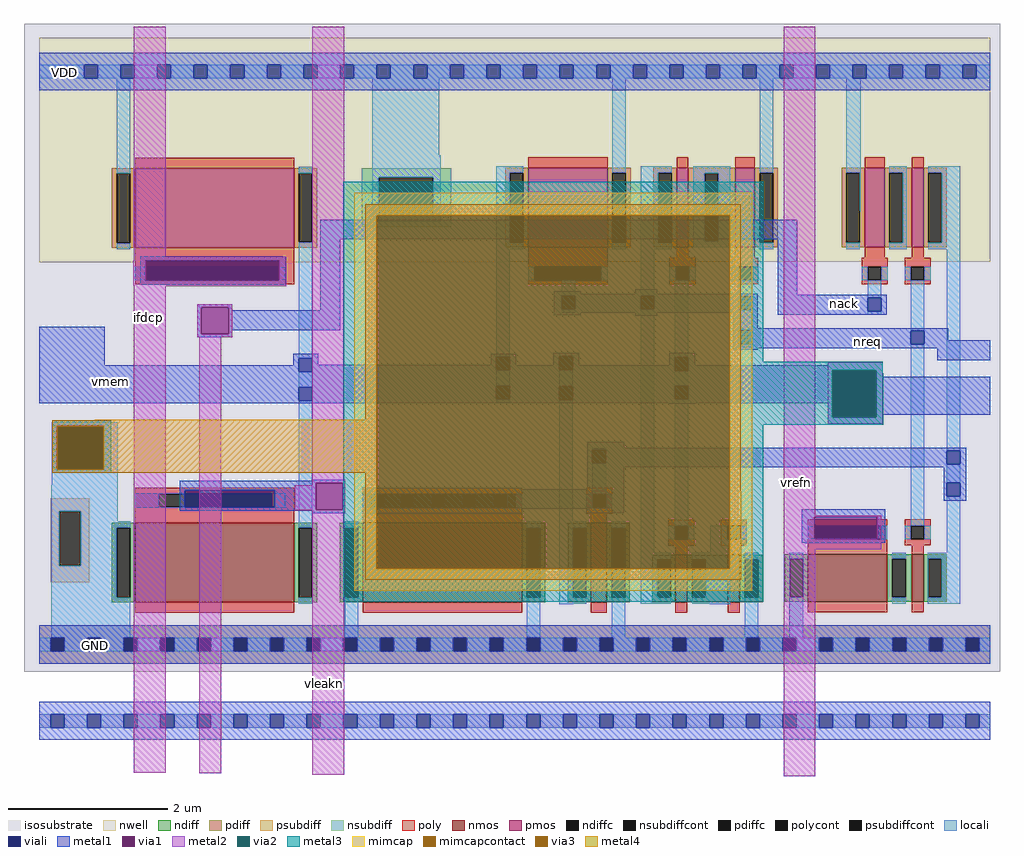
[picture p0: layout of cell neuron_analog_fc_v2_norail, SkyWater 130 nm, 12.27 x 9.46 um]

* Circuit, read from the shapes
.subckt neuron_analog_fc_v2_norail vmem GND VDD nreq nack vrefn ifdcp vleakn
XM1 vmem vleakn GND GND sky130_fd_pr__nfet_01v8 w=1 l=2
XM2 GND n1 GND GND sky130_fd_pr__nfet_01v8 w=1 l=2
XM3 GND n1 vmem GND sky130_fd_pr__nfet_01v8 w=1 l=0.2
XM4 n2 vmem nreq GND sky130_fd_pr__nfet_01v8 w=0.6 l=0.15
XM5 GND n2 n2 GND sky130_fd_pr__nfet_01v8 w=0.6 l=0.15
XM6 n3 vrefn GND GND sky130_fd_pr__nfet_01v8 w=0.6 l=1
XM7 n1 nreq n3 GND sky130_fd_pr__nfet_01v8 w=0.6 l=0.15
XM8 vmem ifdcp VDD VDD sky130_fd_pr__pfet_01v8 w=1 l=2
XM9 VDD nreq vmem VDD sky130_fd_pr__pfet_01v8 w=1 l=1
XM10 n4 vmem nreq VDD sky130_fd_pr__pfet_01v8 w=1 l=0.15
XM11 VDD nreq n4 VDD sky130_fd_pr__pfet_01v8 w=1 l=0.25
XM12 n5 nack VDD VDD sky130_fd_pr__pfet_01v8 w=1 l=0.25
XM13 n1 nreq n5 VDD sky130_fd_pr__pfet_01v8 w=1 l=0.15
XC14 GND vmem sky130_fd_pr__cap_mim_m3_1 w=5 l=5
.ends

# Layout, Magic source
magic
tech sky130A
magscale 1 2
<< isosubstrate >>
rect 1636 -2263 4089 -634
<< nwell >>
rect 1674 -1232 4065 -669
rect 1674 -1233 2842 -1232
<< nmos >>
rect 1915 -2088 2315 -1888
rect 2488 -2088 2888 -1888
rect 3061 -2088 3101 -1888
rect 3273 -2088 3303 -1968
rect 3405 -2088 3435 -1968
rect 3606 -2087 3806 -1967
rect 3867 -2087 3897 -1967
<< pmos >>
rect 1915 -1197 2315 -997
rect 2903 -1196 3103 -996
rect 3276 -1196 3306 -996
rect 3423 -1196 3473 -996
rect 3749 -1196 3799 -996
rect 3867 -1196 3897 -996
<< ndiff >>
rect 1857 -1900 1915 -1888
rect 1857 -2076 1869 -1900
rect 1903 -2076 1915 -1900
rect 1857 -2088 1915 -2076
rect 2315 -1900 2373 -1888
rect 2315 -2076 2327 -1900
rect 2361 -2076 2373 -1900
rect 2315 -2088 2373 -2076
rect 2430 -1900 2488 -1888
rect 2430 -2076 2442 -1900
rect 2476 -2076 2488 -1900
rect 2430 -2088 2488 -2076
rect 2888 -1900 2946 -1888
rect 2888 -2076 2900 -1900
rect 2934 -2076 2946 -1900
rect 2888 -2088 2946 -2076
rect 3003 -1900 3061 -1888
rect 3003 -2076 3015 -1900
rect 3049 -2076 3061 -1900
rect 3003 -2088 3061 -2076
rect 3101 -1900 3159 -1888
rect 3101 -2076 3113 -1900
rect 3147 -2076 3159 -1900
rect 3101 -2088 3159 -2076
rect 3215 -1980 3273 -1968
rect 3215 -2076 3227 -1980
rect 3261 -2076 3273 -1980
rect 3215 -2088 3273 -2076
rect 3303 -1980 3405 -1968
rect 3303 -2076 3315 -1980
rect 3349 -2076 3405 -1980
rect 3303 -2088 3405 -2076
rect 3435 -1980 3493 -1968
rect 3435 -2076 3447 -1980
rect 3481 -2076 3493 -1980
rect 3435 -2088 3493 -2076
rect 3548 -1979 3606 -1967
rect 3548 -2075 3560 -1979
rect 3594 -2075 3606 -1979
rect 3548 -2087 3606 -2075
rect 3806 -1979 3867 -1967
rect 3806 -2075 3818 -1979
rect 3852 -2075 3867 -1979
rect 3806 -2087 3867 -2075
rect 3897 -1979 3955 -1967
rect 3897 -2075 3909 -1979
rect 3943 -2075 3955 -1979
rect 3897 -2087 3955 -2075
<< pdiff >>
rect 1857 -1009 1915 -997
rect 1857 -1185 1869 -1009
rect 1903 -1185 1915 -1009
rect 1857 -1197 1915 -1185
rect 2315 -1009 2373 -997
rect 2315 -1183 2327 -1009
rect 2361 -1183 2373 -1009
rect 2845 -1008 2903 -996
rect 2315 -1197 2373 -1183
rect 2845 -1184 2857 -1008
rect 2891 -1184 2903 -1008
rect 2845 -1196 2903 -1184
rect 3103 -1008 3161 -996
rect 3103 -1184 3115 -1008
rect 3149 -1184 3161 -1008
rect 3103 -1196 3161 -1184
rect 3218 -1008 3276 -996
rect 3218 -1184 3230 -1008
rect 3264 -1184 3276 -1008
rect 3218 -1196 3276 -1184
rect 3306 -1010 3423 -996
rect 3306 -1180 3347 -1010
rect 3381 -1180 3423 -1010
rect 3306 -1196 3423 -1180
rect 3473 -1008 3531 -996
rect 3473 -1184 3485 -1008
rect 3519 -1184 3531 -1008
rect 3473 -1196 3531 -1184
rect 3691 -1008 3749 -996
rect 3691 -1184 3703 -1008
rect 3737 -1184 3749 -1008
rect 3691 -1196 3749 -1184
rect 3799 -1008 3867 -996
rect 3799 -1184 3811 -1008
rect 3845 -1184 3867 -1008
rect 3799 -1196 3867 -1184
rect 3897 -1008 3955 -996
rect 3897 -1184 3909 -1008
rect 3943 -1184 3955 -1008
rect 3897 -1196 3955 -1184
<< ndiffc >>
rect 1869 -2076 1903 -1900
rect 2327 -2076 2361 -1900
rect 2442 -2076 2476 -1900
rect 2900 -2076 2934 -1900
rect 3015 -2076 3049 -1900
rect 3113 -2076 3147 -1900
rect 3227 -2076 3261 -1980
rect 3315 -2076 3349 -1980
rect 3447 -2076 3481 -1980
rect 3560 -2075 3594 -1979
rect 3818 -2075 3852 -1979
rect 3909 -2075 3943 -1979
<< pdiffc >>
rect 1869 -1185 1903 -1009
rect 2327 -1183 2361 -1009
rect 2857 -1184 2891 -1008
rect 3115 -1184 3149 -1008
rect 3230 -1184 3264 -1008
rect 3347 -1180 3381 -1010
rect 3485 -1184 3519 -1008
rect 3703 -1184 3737 -1008
rect 3811 -1184 3845 -1008
rect 3909 -1184 3943 -1008
<< psubdiff >>
rect 1703 -1859 1800 -1827
rect 1703 -1996 1724 -1859
rect 1779 -1996 1800 -1859
rect 1703 -2037 1800 -1996
rect 1674 -2177 4065 -2146
rect 1674 -2211 1703 -2177
rect 1737 -2211 1795 -2177
rect 1829 -2211 1887 -2177
rect 1921 -2211 1979 -2177
rect 2013 -2211 2071 -2177
rect 2105 -2211 2163 -2177
rect 2197 -2211 2255 -2177
rect 2289 -2211 2347 -2177
rect 2381 -2211 2439 -2177
rect 2473 -2211 2531 -2177
rect 2565 -2211 2623 -2177
rect 2657 -2211 2715 -2177
rect 2749 -2211 2807 -2177
rect 2841 -2211 2899 -2177
rect 2933 -2211 2991 -2177
rect 3025 -2211 3083 -2177
rect 3117 -2211 3175 -2177
rect 3209 -2211 3267 -2177
rect 3301 -2211 3359 -2177
rect 3393 -2211 3451 -2177
rect 3485 -2211 3543 -2177
rect 3577 -2211 3635 -2177
rect 3669 -2211 3727 -2177
rect 3761 -2211 3819 -2177
rect 3853 -2211 3911 -2177
rect 3945 -2211 4003 -2177
rect 4037 -2211 4065 -2177
rect 1674 -2242 4065 -2211
<< nsubdiff >>
rect 2485 -1020 2710 -997
rect 2485 -1111 2527 -1020
rect 2665 -1111 2710 -1020
rect 2485 -1144 2710 -1111
<< psubdiffcont >>
rect 1724 -1996 1779 -1859
rect 1703 -2211 1737 -2177
rect 1795 -2211 1829 -2177
rect 1887 -2211 1921 -2177
rect 1979 -2211 2013 -2177
rect 2071 -2211 2105 -2177
rect 2163 -2211 2197 -2177
rect 2255 -2211 2289 -2177
rect 2347 -2211 2381 -2177
rect 2439 -2211 2473 -2177
rect 2531 -2211 2565 -2177
rect 2623 -2211 2657 -2177
rect 2715 -2211 2749 -2177
rect 2807 -2211 2841 -2177
rect 2899 -2211 2933 -2177
rect 2991 -2211 3025 -2177
rect 3083 -2211 3117 -2177
rect 3175 -2211 3209 -2177
rect 3267 -2211 3301 -2177
rect 3359 -2211 3393 -2177
rect 3451 -2211 3485 -2177
rect 3543 -2211 3577 -2177
rect 3635 -2211 3669 -2177
rect 3727 -2211 3761 -2177
rect 3819 -2211 3853 -2177
rect 3911 -2211 3945 -2177
rect 4003 -2211 4037 -2177
<< nsubdiffcont >>
rect 2527 -1111 2665 -1020
<< poly >>
rect 1915 -997 2315 -971
rect 2903 -996 3103 -970
rect 3276 -996 3306 -970
rect 3423 -996 3473 -970
rect 3749 -996 3799 -970
rect 3867 -996 3897 -970
rect 1915 -1245 2315 -1197
rect 1915 -1279 1943 -1245
rect 2277 -1279 2315 -1245
rect 1915 -1289 2315 -1279
rect 2903 -1244 3103 -1196
rect 3276 -1222 3306 -1196
rect 3423 -1222 3473 -1196
rect 3749 -1222 3799 -1196
rect 3867 -1222 3897 -1196
rect 2903 -1278 2919 -1244
rect 3087 -1278 3103 -1244
rect 2903 -1288 3103 -1278
rect 3258 -1244 3324 -1222
rect 3258 -1278 3274 -1244
rect 3308 -1278 3324 -1244
rect 3258 -1288 3324 -1278
rect 3415 -1244 3481 -1222
rect 3415 -1278 3431 -1244
rect 3465 -1278 3481 -1244
rect 3415 -1288 3481 -1278
rect 3741 -1244 3807 -1222
rect 3741 -1278 3757 -1244
rect 3791 -1278 3807 -1244
rect 3741 -1288 3807 -1278
rect 3849 -1244 3915 -1222
rect 3849 -1278 3865 -1244
rect 3899 -1278 3915 -1244
rect 3849 -1288 3915 -1278
rect 1915 -1815 2315 -1800
rect 1915 -1849 1973 -1815
rect 2259 -1849 2315 -1815
rect 1915 -1888 2315 -1849
rect 2488 -1816 2888 -1800
rect 2488 -1850 2504 -1816
rect 2872 -1850 2888 -1816
rect 2488 -1888 2888 -1850
rect 3049 -1816 3115 -1800
rect 3049 -1850 3065 -1816
rect 3099 -1850 3115 -1816
rect 3049 -1866 3115 -1850
rect 3061 -1888 3101 -1866
rect 3255 -1896 3321 -1880
rect 3255 -1930 3271 -1896
rect 3305 -1930 3321 -1896
rect 3255 -1946 3321 -1930
rect 3387 -1896 3453 -1880
rect 3387 -1930 3403 -1896
rect 3437 -1930 3453 -1896
rect 3387 -1946 3453 -1930
rect 3606 -1895 3806 -1879
rect 3606 -1929 3622 -1895
rect 3790 -1929 3806 -1895
rect 3273 -1968 3303 -1946
rect 3405 -1968 3435 -1946
rect 3606 -1967 3806 -1929
rect 3849 -1895 3915 -1879
rect 3849 -1929 3865 -1895
rect 3899 -1929 3915 -1895
rect 3849 -1945 3915 -1929
rect 3867 -1967 3897 -1945
rect 1915 -2114 2315 -2088
rect 2488 -2114 2888 -2088
rect 3061 -2114 3101 -2088
rect 3273 -2114 3303 -2088
rect 3405 -2114 3435 -2088
rect 3606 -2113 3806 -2087
rect 3867 -2113 3897 -2087
<< polycont >>
rect 1943 -1279 2277 -1245
rect 2919 -1278 3087 -1244
rect 3274 -1278 3308 -1244
rect 3431 -1278 3465 -1244
rect 3757 -1278 3791 -1244
rect 3865 -1278 3899 -1244
rect 1973 -1849 2259 -1815
rect 2504 -1850 2872 -1816
rect 3065 -1850 3099 -1816
rect 3271 -1930 3305 -1896
rect 3403 -1930 3437 -1896
rect 3622 -1929 3790 -1895
rect 3865 -1929 3899 -1895
<< locali >>
rect 1674 -771 1787 -737
rect 1821 -771 1879 -737
rect 1913 -771 1971 -737
rect 2005 -771 2063 -737
rect 2097 -771 2155 -737
rect 2189 -771 2247 -737
rect 2281 -771 2339 -737
rect 2373 -771 2431 -737
rect 2465 -771 2523 -737
rect 2557 -771 2615 -737
rect 2649 -771 2707 -737
rect 2741 -771 2799 -737
rect 2833 -771 2891 -737
rect 2925 -771 2983 -737
rect 3017 -771 3075 -737
rect 3109 -771 3167 -737
rect 3201 -771 3259 -737
rect 3293 -771 3351 -737
rect 3385 -771 3443 -737
rect 3477 -771 3535 -737
rect 3569 -771 3627 -737
rect 3661 -771 3719 -737
rect 3753 -771 3811 -737
rect 3845 -771 3903 -737
rect 3937 -771 3995 -737
rect 4029 -771 4065 -737
rect 1869 -1009 1903 -771
rect 2511 -964 2680 -771
rect 1869 -1201 1903 -1185
rect 2327 -1009 2361 -993
rect 2511 -1020 2684 -964
rect 2511 -1111 2527 -1020
rect 2665 -1111 2684 -1020
rect 2511 -1131 2684 -1111
rect 2823 -1008 2891 -992
rect 1914 -1279 1941 -1245
rect 2277 -1279 2293 -1245
rect 2327 -1475 2361 -1183
rect 2327 -1548 2361 -1509
rect 1706 -1662 1871 -1636
rect 1706 -1734 1719 -1662
rect 1836 -1734 1871 -1662
rect 1706 -1794 1871 -1734
rect 1705 -1859 1871 -1794
rect 1915 -1815 2040 -1814
rect 1915 -1849 1973 -1815
rect 2266 -1849 2293 -1814
rect 1915 -1850 2049 -1849
rect 2259 -1850 2293 -1849
rect 1705 -1996 1724 -1859
rect 1779 -1884 1871 -1859
rect 1779 -1900 1903 -1884
rect 1779 -1996 1869 -1900
rect 1705 -2076 1869 -1996
rect 1705 -2177 1903 -2076
rect 2327 -1900 2361 -1582
rect 2823 -1184 2857 -1008
rect 2823 -1200 2891 -1184
rect 3115 -1008 3149 -771
rect 3115 -1200 3149 -1184
rect 3186 -1008 3264 -992
rect 3186 -1184 3230 -1008
rect 3186 -1200 3264 -1184
rect 3318 -1010 3411 -992
rect 3318 -1180 3347 -1010
rect 3381 -1180 3411 -1010
rect 3318 -1196 3411 -1180
rect 3485 -1008 3519 -771
rect 3485 -1200 3519 -1184
rect 3703 -1008 3739 -771
rect 3737 -1105 3739 -1008
rect 3811 -1008 3855 -992
rect 3703 -1200 3737 -1184
rect 3845 -1184 3855 -1008
rect 3811 -1200 3855 -1184
rect 3909 -1008 3989 -992
rect 3943 -1184 3989 -1008
rect 3909 -1200 3989 -1184
rect 2823 -1471 2857 -1200
rect 2903 -1278 2919 -1244
rect 3087 -1278 3103 -1244
rect 2988 -1318 3022 -1278
rect 2988 -1360 3022 -1352
rect 3186 -1318 3220 -1200
rect 3258 -1278 3274 -1244
rect 3308 -1278 3324 -1244
rect 3415 -1278 3431 -1244
rect 3465 -1278 3481 -1244
rect 3741 -1278 3757 -1244
rect 3791 -1278 3807 -1244
rect 3849 -1278 3865 -1244
rect 3899 -1278 3915 -1244
rect 2823 -1544 2857 -1505
rect 2823 -1588 2857 -1578
rect 2981 -1545 3015 -1504
rect 2488 -1850 2504 -1816
rect 2872 -1850 2888 -1816
rect 2981 -1884 3015 -1579
rect 3064 -1705 3099 -1701
rect 3098 -1739 3099 -1705
rect 3064 -1816 3099 -1739
rect 3049 -1850 3065 -1816
rect 3099 -1850 3115 -1816
rect 2327 -2092 2361 -2076
rect 2442 -1900 2476 -1884
rect 2442 -2177 2476 -2076
rect 2900 -1900 2934 -1884
rect 2900 -2177 2934 -2076
rect 2981 -1900 3049 -1884
rect 2981 -2076 3015 -1900
rect 2981 -2092 3049 -2076
rect 3113 -1900 3147 -1884
rect 2981 -2093 3016 -2092
rect 3113 -2177 3147 -2076
rect 3186 -1964 3220 -1352
rect 3271 -1472 3305 -1278
rect 3431 -1313 3465 -1278
rect 3430 -1319 3466 -1313
rect 3430 -1353 3431 -1319
rect 3465 -1353 3466 -1319
rect 3430 -1404 3466 -1353
rect 3757 -1323 3791 -1278
rect 3757 -1365 3791 -1357
rect 3430 -1438 3431 -1404
rect 3465 -1438 3466 -1404
rect 3430 -1447 3466 -1438
rect 3865 -1406 3899 -1278
rect 3271 -1544 3305 -1506
rect 3271 -1896 3305 -1578
rect 3865 -1895 3899 -1440
rect 3955 -1707 3989 -1200
rect 3955 -1787 3989 -1741
rect 3361 -1896 3411 -1895
rect 3255 -1930 3271 -1896
rect 3305 -1930 3321 -1896
rect 3361 -1930 3403 -1896
rect 3437 -1930 3453 -1896
rect 3606 -1929 3622 -1895
rect 3790 -1929 3806 -1895
rect 3849 -1929 3865 -1895
rect 3899 -1929 3915 -1895
rect 3361 -1964 3411 -1930
rect 3955 -1963 3989 -1821
rect 3560 -1964 3594 -1963
rect 3186 -1980 3261 -1964
rect 3186 -2076 3227 -1980
rect 3186 -2092 3261 -2076
rect 3315 -1980 3411 -1964
rect 3349 -2076 3411 -1980
rect 3315 -2092 3411 -2076
rect 3360 -2093 3411 -2092
rect 3447 -1980 3481 -1964
rect 3447 -2177 3481 -2076
rect 3559 -1979 3595 -1964
rect 3559 -2075 3560 -1979
rect 3594 -2075 3595 -1979
rect 3559 -2177 3595 -2075
rect 3818 -1979 3852 -1963
rect 3818 -2091 3852 -2075
rect 3908 -1979 3989 -1963
rect 3908 -2075 3909 -1979
rect 3943 -2075 3989 -1979
rect 3908 -2092 3989 -2075
rect 1674 -2211 1703 -2177
rect 1737 -2211 1795 -2177
rect 1829 -2211 1887 -2177
rect 1921 -2211 1979 -2177
rect 2013 -2211 2071 -2177
rect 2105 -2211 2163 -2177
rect 2197 -2211 2255 -2177
rect 2289 -2211 2347 -2177
rect 2381 -2211 2439 -2177
rect 2473 -2211 2531 -2177
rect 2565 -2211 2623 -2177
rect 2657 -2211 2715 -2177
rect 2749 -2211 2807 -2177
rect 2841 -2211 2899 -2177
rect 2933 -2211 2991 -2177
rect 3025 -2211 3083 -2177
rect 3117 -2211 3175 -2177
rect 3209 -2211 3267 -2177
rect 3301 -2211 3359 -2177
rect 3393 -2211 3451 -2177
rect 3485 -2211 3543 -2177
rect 3577 -2211 3635 -2177
rect 3669 -2211 3727 -2177
rect 3761 -2211 3819 -2177
rect 3853 -2211 3911 -2177
rect 3945 -2211 4003 -2177
rect 4037 -2211 4065 -2177
rect 1674 -2403 1703 -2369
rect 1737 -2403 1795 -2369
rect 1829 -2403 1887 -2369
rect 1921 -2403 1979 -2369
rect 2013 -2403 2071 -2369
rect 2105 -2403 2163 -2369
rect 2197 -2403 2255 -2369
rect 2289 -2403 2347 -2369
rect 2381 -2403 2439 -2369
rect 2473 -2403 2531 -2369
rect 2565 -2403 2623 -2369
rect 2657 -2403 2715 -2369
rect 2749 -2403 2807 -2369
rect 2841 -2403 2899 -2369
rect 2933 -2403 2991 -2369
rect 3025 -2403 3083 -2369
rect 3117 -2403 3175 -2369
rect 3209 -2403 3267 -2369
rect 3301 -2403 3359 -2369
rect 3393 -2403 3451 -2369
rect 3485 -2403 3543 -2369
rect 3577 -2403 3635 -2369
rect 3669 -2403 3727 -2369
rect 3761 -2403 3819 -2369
rect 3853 -2403 3911 -2369
rect 3945 -2403 4003 -2369
rect 4037 -2403 4065 -2369
<< viali >>
rect 1787 -771 1821 -737
rect 1879 -771 1913 -737
rect 1971 -771 2005 -737
rect 2063 -771 2097 -737
rect 2155 -771 2189 -737
rect 2247 -771 2281 -737
rect 2339 -771 2373 -737
rect 2431 -771 2465 -737
rect 2523 -771 2557 -737
rect 2615 -771 2649 -737
rect 2707 -771 2741 -737
rect 2799 -771 2833 -737
rect 2891 -771 2925 -737
rect 2983 -771 3017 -737
rect 3075 -771 3109 -737
rect 3167 -771 3201 -737
rect 3259 -771 3293 -737
rect 3351 -771 3385 -737
rect 3443 -771 3477 -737
rect 3535 -771 3569 -737
rect 3627 -771 3661 -737
rect 3719 -771 3753 -737
rect 3811 -771 3845 -737
rect 3903 -771 3937 -737
rect 3995 -771 4029 -737
rect 1941 -1245 2276 -1228
rect 1941 -1279 1943 -1245
rect 1943 -1279 2276 -1245
rect 1941 -1280 2276 -1279
rect 2327 -1509 2361 -1475
rect 2327 -1582 2361 -1548
rect 1719 -1734 1836 -1662
rect 2040 -1815 2266 -1806
rect 2040 -1849 2259 -1815
rect 2259 -1849 2266 -1815
rect 2988 -1352 3022 -1318
rect 3186 -1352 3220 -1318
rect 2823 -1505 2857 -1471
rect 2823 -1578 2857 -1544
rect 2981 -1504 3015 -1470
rect 2981 -1579 3015 -1545
rect 2509 -1850 2543 -1816
rect 2582 -1850 2616 -1816
rect 2659 -1850 2693 -1816
rect 2737 -1850 2771 -1816
rect 2816 -1850 2850 -1816
rect 3064 -1739 3098 -1705
rect 3065 -1850 3099 -1816
rect 3431 -1353 3465 -1319
rect 3757 -1357 3791 -1323
rect 3431 -1438 3465 -1404
rect 3865 -1440 3899 -1406
rect 3271 -1506 3305 -1472
rect 3271 -1578 3305 -1544
rect 3622 -1895 3783 -1894
rect 3955 -1741 3989 -1707
rect 3955 -1821 3989 -1787
rect 3622 -1928 3783 -1895
rect 1703 -2211 1737 -2177
rect 1795 -2211 1829 -2177
rect 1887 -2211 1921 -2177
rect 1979 -2211 2013 -2177
rect 2071 -2211 2105 -2177
rect 2163 -2211 2197 -2177
rect 2255 -2211 2289 -2177
rect 2347 -2211 2381 -2177
rect 2439 -2211 2473 -2177
rect 2531 -2211 2565 -2177
rect 2623 -2211 2657 -2177
rect 2715 -2211 2749 -2177
rect 2807 -2211 2841 -2177
rect 2899 -2211 2933 -2177
rect 2991 -2211 3025 -2177
rect 3083 -2211 3117 -2177
rect 3175 -2211 3209 -2177
rect 3267 -2211 3301 -2177
rect 3359 -2211 3393 -2177
rect 3451 -2211 3485 -2177
rect 3543 -2211 3577 -2177
rect 3635 -2211 3669 -2177
rect 3727 -2211 3761 -2177
rect 3819 -2211 3853 -2177
rect 3911 -2211 3945 -2177
rect 4003 -2211 4037 -2177
rect 1703 -2403 1737 -2369
rect 1795 -2403 1829 -2369
rect 1887 -2403 1921 -2369
rect 1979 -2403 2013 -2369
rect 2071 -2403 2105 -2369
rect 2163 -2403 2197 -2369
rect 2255 -2403 2289 -2369
rect 2347 -2403 2381 -2369
rect 2439 -2403 2473 -2369
rect 2531 -2403 2565 -2369
rect 2623 -2403 2657 -2369
rect 2715 -2403 2749 -2369
rect 2807 -2403 2841 -2369
rect 2899 -2403 2933 -2369
rect 2991 -2403 3025 -2369
rect 3083 -2403 3117 -2369
rect 3175 -2403 3209 -2369
rect 3267 -2403 3301 -2369
rect 3359 -2403 3393 -2369
rect 3451 -2403 3485 -2369
rect 3543 -2403 3577 -2369
rect 3635 -2403 3669 -2369
rect 3727 -2403 3761 -2369
rect 3819 -2403 3853 -2369
rect 3911 -2403 3945 -2369
rect 4003 -2403 4037 -2369
<< metal1 >>
rect 1674 -737 4065 -707
rect 1674 -771 1787 -737
rect 1821 -771 1879 -737
rect 1913 -771 1971 -737
rect 2005 -771 2063 -737
rect 2097 -771 2155 -737
rect 2189 -771 2247 -737
rect 2281 -771 2339 -737
rect 2373 -771 2431 -737
rect 2465 -771 2523 -737
rect 2557 -771 2615 -737
rect 2649 -771 2707 -737
rect 2741 -771 2799 -737
rect 2833 -771 2891 -737
rect 2925 -771 2983 -737
rect 3017 -771 3075 -737
rect 3109 -771 3167 -737
rect 3201 -771 3259 -737
rect 3293 -771 3351 -737
rect 3385 -771 3443 -737
rect 3477 -771 3535 -737
rect 3569 -771 3627 -737
rect 3661 -771 3719 -737
rect 3753 -771 3811 -737
rect 3845 -771 3903 -737
rect 3937 -771 3995 -737
rect 4029 -771 4065 -737
rect 1674 -801 4065 -771
rect 2381 -1176 3580 -1126
rect 1928 -1219 2286 -1218
rect 1928 -1228 2294 -1219
rect 1928 -1280 1941 -1228
rect 2277 -1280 2294 -1228
rect 1928 -1290 2294 -1280
rect 2072 -1346 2159 -1339
rect 1674 -1492 1839 -1395
rect 2072 -1414 2082 -1346
rect 2150 -1354 2159 -1346
rect 2381 -1354 2431 -1176
rect 2150 -1404 2431 -1354
rect 2967 -1313 3035 -1306
rect 3172 -1313 3228 -1301
rect 2967 -1318 3480 -1313
rect 2967 -1352 2988 -1318
rect 3022 -1352 3186 -1318
rect 3220 -1319 3480 -1318
rect 3220 -1352 3431 -1319
rect 2967 -1353 3431 -1352
rect 3465 -1353 3480 -1319
rect 2967 -1360 3480 -1353
rect 2967 -1366 3035 -1360
rect 3172 -1368 3228 -1360
rect 3419 -1399 3480 -1360
rect 3530 -1315 3580 -1176
rect 3530 -1323 3804 -1315
rect 3530 -1357 3757 -1323
rect 3791 -1357 3804 -1323
rect 3530 -1365 3804 -1357
rect 3419 -1404 3959 -1399
rect 2150 -1414 2159 -1404
rect 2072 -1422 2159 -1414
rect 3419 -1438 3431 -1404
rect 3465 -1406 3959 -1404
rect 3465 -1438 3865 -1406
rect 3419 -1440 3865 -1438
rect 3899 -1429 3959 -1406
rect 3899 -1440 4065 -1429
rect 3419 -1449 4065 -1440
rect 3419 -1453 3480 -1449
rect 3523 -1450 4065 -1449
rect 2313 -1475 2376 -1463
rect 2313 -1492 2327 -1475
rect 1674 -1509 2327 -1492
rect 2361 -1491 2376 -1475
rect 2809 -1471 2873 -1463
rect 2809 -1491 2823 -1471
rect 2361 -1505 2823 -1491
rect 2857 -1492 2873 -1471
rect 2966 -1470 3031 -1461
rect 2966 -1492 2981 -1470
rect 2857 -1504 2981 -1492
rect 3015 -1492 3031 -1470
rect 3258 -1472 3323 -1461
rect 3258 -1492 3271 -1472
rect 3015 -1504 3271 -1492
rect 2857 -1505 3271 -1504
rect 2361 -1506 3271 -1505
rect 3305 -1492 3323 -1472
rect 3931 -1480 4065 -1450
rect 3656 -1492 3794 -1485
rect 3305 -1505 3794 -1492
rect 3305 -1506 3668 -1505
rect 2361 -1509 3668 -1506
rect 1674 -1544 3668 -1509
rect 1674 -1548 2823 -1544
rect 1674 -1582 2327 -1548
rect 2361 -1578 2823 -1548
rect 2857 -1545 3271 -1544
rect 2857 -1578 2981 -1545
rect 2361 -1579 2981 -1578
rect 3015 -1578 3271 -1545
rect 3305 -1578 3668 -1544
rect 3015 -1579 3668 -1578
rect 2361 -1582 3668 -1579
rect 1674 -1588 3668 -1582
rect 3258 -1589 3323 -1588
rect 3656 -1623 3668 -1588
rect 3778 -1521 3794 -1505
rect 3778 -1617 4065 -1521
rect 3778 -1623 3794 -1617
rect 1707 -1644 1855 -1630
rect 3656 -1639 3794 -1623
rect 1707 -1754 1718 -1644
rect 1836 -1754 1855 -1644
rect 1707 -1762 1855 -1754
rect 3052 -1700 3144 -1685
rect 3947 -1700 4004 -1699
rect 3052 -1705 4004 -1700
rect 3052 -1739 3064 -1705
rect 3098 -1707 4004 -1705
rect 3098 -1739 3955 -1707
rect 3052 -1741 3955 -1739
rect 3989 -1741 4004 -1707
rect 3052 -1748 4004 -1741
rect 2360 -1783 2444 -1780
rect 2028 -1787 2444 -1783
rect 2028 -1806 2369 -1787
rect 2028 -1849 2040 -1806
rect 2266 -1849 2369 -1806
rect 2028 -1855 2369 -1849
rect 2437 -1855 2444 -1787
rect 3052 -1800 3144 -1748
rect 2028 -1858 2444 -1855
rect 2360 -1864 2444 -1858
rect 2495 -1804 2888 -1800
rect 3049 -1804 3144 -1800
rect 2495 -1816 3144 -1804
rect 2495 -1850 2509 -1816
rect 2543 -1850 2582 -1816
rect 2616 -1850 2659 -1816
rect 2693 -1850 2737 -1816
rect 2771 -1850 2816 -1816
rect 2850 -1850 3065 -1816
rect 3099 -1850 3144 -1816
rect 3947 -1787 4004 -1748
rect 3947 -1821 3955 -1787
rect 3989 -1821 4004 -1787
rect 3947 -1833 4004 -1821
rect 2495 -1853 3144 -1850
rect 2495 -1866 2888 -1853
rect 3049 -1860 3144 -1853
rect 3049 -1864 3143 -1860
rect 3591 -1873 3800 -1854
rect 3591 -1928 3622 -1873
rect 3781 -1894 3800 -1873
rect 3783 -1928 3800 -1894
rect 3591 -1938 3800 -1928
rect 3598 -1939 3789 -1938
rect 1674 -2177 4065 -2146
rect 1674 -2211 1703 -2177
rect 1737 -2211 1795 -2177
rect 1829 -2211 1887 -2177
rect 1921 -2211 1979 -2177
rect 2013 -2211 2071 -2177
rect 2105 -2211 2163 -2177
rect 2197 -2211 2255 -2177
rect 2289 -2211 2347 -2177
rect 2381 -2211 2439 -2177
rect 2473 -2211 2531 -2177
rect 2565 -2211 2623 -2177
rect 2657 -2211 2715 -2177
rect 2749 -2211 2807 -2177
rect 2841 -2211 2899 -2177
rect 2933 -2211 2991 -2177
rect 3025 -2211 3083 -2177
rect 3117 -2211 3175 -2177
rect 3209 -2211 3267 -2177
rect 3301 -2211 3359 -2177
rect 3393 -2211 3451 -2177
rect 3485 -2211 3543 -2177
rect 3577 -2211 3635 -2177
rect 3669 -2211 3727 -2177
rect 3761 -2211 3819 -2177
rect 3853 -2211 3911 -2177
rect 3945 -2211 4003 -2177
rect 4037 -2211 4065 -2177
rect 1674 -2242 4065 -2211
rect 1674 -2369 4065 -2338
rect 1674 -2403 1703 -2369
rect 1737 -2403 1795 -2369
rect 1829 -2403 1887 -2369
rect 1921 -2403 1979 -2369
rect 2013 -2403 2071 -2369
rect 2105 -2403 2163 -2369
rect 2197 -2403 2255 -2369
rect 2289 -2403 2347 -2369
rect 2381 -2403 2439 -2369
rect 2473 -2403 2531 -2369
rect 2565 -2403 2623 -2369
rect 2657 -2403 2715 -2369
rect 2749 -2403 2807 -2369
rect 2841 -2403 2899 -2369
rect 2933 -2403 2991 -2369
rect 3025 -2403 3083 -2369
rect 3117 -2403 3175 -2369
rect 3209 -2403 3267 -2369
rect 3301 -2403 3359 -2369
rect 3393 -2403 3451 -2369
rect 3485 -2403 3543 -2369
rect 3577 -2403 3635 -2369
rect 3669 -2403 3727 -2369
rect 3761 -2403 3819 -2369
rect 3853 -2403 3911 -2369
rect 3945 -2403 4003 -2369
rect 4037 -2403 4065 -2369
rect 1674 -2434 4065 -2403
<< via1 >>
rect 1942 -1280 2276 -1228
rect 2276 -1280 2277 -1228
rect 2082 -1414 2150 -1346
rect 3668 -1623 3778 -1505
rect 1718 -1662 1836 -1644
rect 1718 -1734 1719 -1662
rect 1719 -1734 1836 -1662
rect 1718 -1754 1836 -1734
rect 2369 -1855 2437 -1787
rect 3622 -1894 3781 -1873
rect 3622 -1928 3781 -1894
<< metal2 >>
rect 1912 -1219 1992 -641
rect 1912 -1228 2295 -1219
rect 1912 -1230 1942 -1228
rect 1911 -1280 1942 -1230
rect 2277 -1280 2295 -1228
rect 1911 -1290 2295 -1280
rect 1912 -1294 2295 -1290
rect 1707 -1644 1855 -1630
rect 1707 -1754 1718 -1644
rect 1836 -1754 1855 -1644
rect 1707 -1762 1855 -1754
rect 1912 -2516 1992 -1294
rect 2072 -1346 2159 -1339
rect 2072 -1414 2082 -1346
rect 2150 -1414 2159 -1346
rect 2072 -1422 2159 -1414
rect 2077 -2517 2132 -1422
rect 2361 -1780 2441 -641
rect 2360 -1787 2444 -1780
rect 2360 -1794 2369 -1787
rect 2317 -1855 2369 -1794
rect 2437 -1855 2444 -1787
rect 2317 -1857 2444 -1855
rect 2360 -1864 2444 -1857
rect 2361 -2521 2441 -1864
rect 3545 -1870 3625 -641
rect 3656 -1505 3794 -1485
rect 3656 -1623 3668 -1505
rect 3778 -1623 3794 -1505
rect 3656 -1639 3794 -1623
rect 3545 -1873 3791 -1870
rect 3545 -1928 3622 -1873
rect 3781 -1928 3791 -1873
rect 3545 -1955 3791 -1928
rect 3545 -2525 3625 -1955
<< via2 >>
rect 1719 -1754 1836 -1645
rect 3668 -1623 3778 -1505
<< metal3 >>
rect 2438 -1483 3494 -1031
rect 2438 -1505 3794 -1483
rect 2438 -1623 3668 -1505
rect 3778 -1512 3794 -1505
rect 3778 -1623 3795 -1512
rect 1707 -1645 1855 -1630
rect 1707 -1754 1719 -1645
rect 1836 -1754 1855 -1645
rect 1707 -1762 1855 -1754
rect 2438 -1642 3795 -1623
rect 2438 -2087 3494 -1642
<< via3 >>
rect 1719 -1754 1836 -1646
<< mimcap >>
rect 2466 -1115 3466 -1059
rect 2466 -2003 2522 -1115
rect 3410 -2003 3466 -1115
rect 2466 -2059 3466 -2003
<< mimcapcontact >>
rect 2522 -2003 3410 -1115
<< metal4 >>
rect 2494 -1115 3438 -1087
rect 2494 -1629 2522 -1115
rect 1814 -1630 2522 -1629
rect 1707 -1646 2522 -1630
rect 1707 -1754 1719 -1646
rect 1836 -1754 2522 -1646
rect 1707 -1762 2522 -1754
rect 2494 -2003 2522 -1762
rect 3410 -1810 3438 -1115
rect 3410 -2003 3439 -1810
rect 2494 -2031 3439 -2003
<< labels >>
flabel metal1 1813 -2200 1816 -2195 1 FreeSans 320 0 0 0 GND
port 7 n
flabel metal1 1851 -1536 1854 -1531 1 FreeSans 320 0 0 0 vmem
port 6 n
flabel metal1 3743 -1437 3770 -1429 1 FreeSans 320 0 0 0 nreq
port 9 n
flabel metal1 3695 -1344 3701 -1331 1 FreeSans 320 0 0 0 nack
port 10 n
flabel metal2 3557 -1804 3600 -1772 1 FreeSans 320 0 0 0 vrefn
port 11 n
flabel metal2 1939 -1384 1960 -1360 1 FreeSans 320 0 0 0 ifdcp
port 12 n
flabel metal1 1726 -758 1749 -754 1 FreeSans 320 0 0 0 VDD
port 8 n
flabel metal2 2380 -2305 2401 -2279 1 FreeSans 320 0 0 0 vleakn
port 13 n
<< end >>
